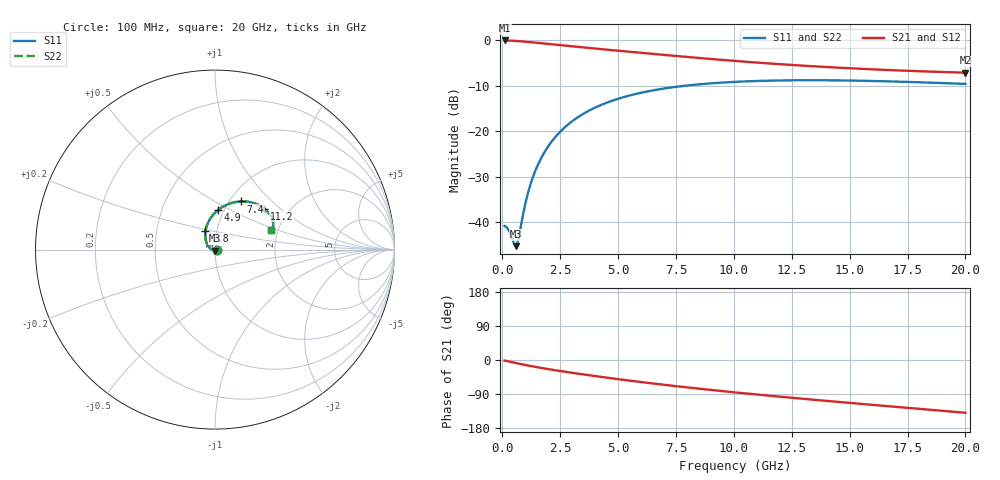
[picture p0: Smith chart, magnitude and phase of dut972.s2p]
! Touchstone file exported from HFSS 2024.1.0
!  File:  C:/UserFiles/LocalFiles/RDL_TSV_Batchsim/temp_RDL_TSV_972_1779971739.aedt
!  Generated:  08:47:55 PM May 28, 2026
!  Design:  RDL_TSV
!  Project:  temp_RDL_TSV_972_1779971739
!  Setup:  Setup1
!  Solution:  Sweep
! Variables:
!  dtsv = 13.87um
!  hbump = 3um
!  htsv = 52.99um
!  ldown = 349.75um
!  lrdl = 237.27um
!  p = 40
!  p1 = 58.67um
!  rhole = 10um
!  subl = 1998.33um
!  t = 450um
!  tdown = 3.26um
!  trdl = 3.87um
!  viad = 10um
!  wdown = 22.69um
!  wrdl = 23.86um
!  xbump = 18um
# GHz S MA R 50.000000
! Terminal data exported
! Port[1] = TM1_1_T1
! Port[2] = TM1_4_T1
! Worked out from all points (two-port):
!   200 points, 100 MHz to 20 GHz, reference 50 ohm
!   highest |S21| = -0.09 dB at 100 MHz (marker M1); lowest = -7.2 dB at 20 GHz (marker M2)
!   |S21| within 3 dB of the highest: start of sweep to 6.611 GHz
!   lowest |S11| = -45.2 dB at 600 MHz (marker M3), VSWR 1.01, Z = 50 - j0.546 ohm
!   |S11| at or under -10 dB: start of sweep to 7.928 GHz
!   |S22| runs from -45.2 to -8.8 dB; largest |S21 - S12| = 8.9e-15
!   S11 on the Smith chart (normalised r, x): 100 MHz: 1.02, -0.00; 2.8 GHz: 0.88, +0.18; 4.9 GHz: 0.94, +0.44; 7.4 GHz: 1.13, +0.67; 11.2 GHz: 1.51, +0.79; 20 GHz: 1.84, +0.45
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0.1  0.009141 -6.4  0.9902 -1.4  0.9902 -1.4  0.009141 -6.4
! Gamma 0 0 0 0
! Port Impedance 50 0 50 0
0.3  0.008027 -25.3  0.9867 -4.2  0.9867 -4.2  0.008025 -25.3
0.5  0.005876 -62.5  0.9809 -6.9  0.9809 -6.9  0.005873 -62.6
0.6  0.005485 -94.5  0.9774 -8.2  0.9774 -8.2  0.005484 -94.6
0.7  0.006551 -127.7  0.9735 -9.5  0.9735 -9.5  0.006553 -127.7
0.9  0.01236 -166.7  0.9645 -12.0  0.9645 -12.0  0.01237 -166.7
1.1  0.02064 174.6  0.9545 -14.4  0.9545 -14.4  0.02066 174.6
1.3  0.03028 162.6  0.9438 -16.7  0.9438 -16.7  0.0303 162.6
1.5  0.04081 153.5  0.9327 -19.0  0.9327 -19.0  0.04084 153.5
1.8  0.05767 142.6  0.9159 -22.2  0.9159 -22.2  0.05771 142.6
2.1  0.0752 133.6  0.8994 -25.2  0.8994 -25.2  0.07526 133.6
2.8  0.1163 117.1  0.8629 -31.9  0.8629 -31.9  0.1164 117.2
3.5  0.1554 104.4  0.8294 -38.1  0.8294 -38.1  0.1555 104.4
4.2  0.191 93.9  0.7982 -44.0  0.7982 -44.0  0.1911 94.0
4.9  0.2227 85.1  0.7684 -49.7  0.7684 -49.7  0.2229 85.2
6.8  0.2891 66.5  0.694 -64.1  0.694 -64.1  0.2893 66.5
7.4  0.3045 61.7  0.6725 -68.3  0.6725 -68.3  0.3048 61.8
10.1  0.3485 45.0  0.5891 -85.8  0.5891 -85.8  0.3488 45.0
11.2  0.357 39.7  0.5615 -92.3  0.5615 -92.3  0.3573 39.8
13.4  0.3627 31.4  0.5162 -104.6  0.5162 -104.6  0.3629 31.5
16.7  0.3523 23.0  0.4688 -122.1  0.4688 -122.1  0.3524 23.1
20  0.3306 19.0  0.4386 -139.2  0.4386 -139.2  0.3307 19.2
